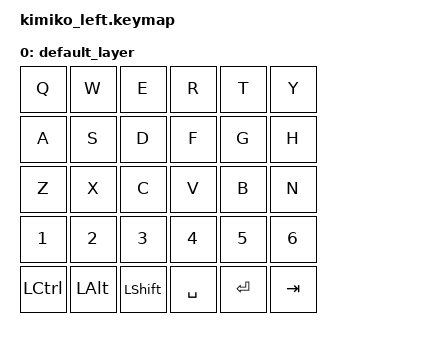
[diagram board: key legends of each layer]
#include <behaviors.dtsi>
#include <dt-bindings/zmk/keys.h>
/ {
    keymap {
        compatible = "zmk,keymap";
        default_layer {
            bindings = <
                &kp Q &kp W &kp E &kp R &kp T &kp Y
                &kp A &kp S &kp D &kp F &kp G &kp H
                &kp Z &kp X &kp C &kp V &kp B &kp N
                &kp N1 &kp N2 &kp N3 &kp N4 &kp N5 &kp N6
                &kp LCTRL &kp LALT &kp LSHFT &kp SPACE &kp ENTER &kp TAB
            >;
        };
    };
};
